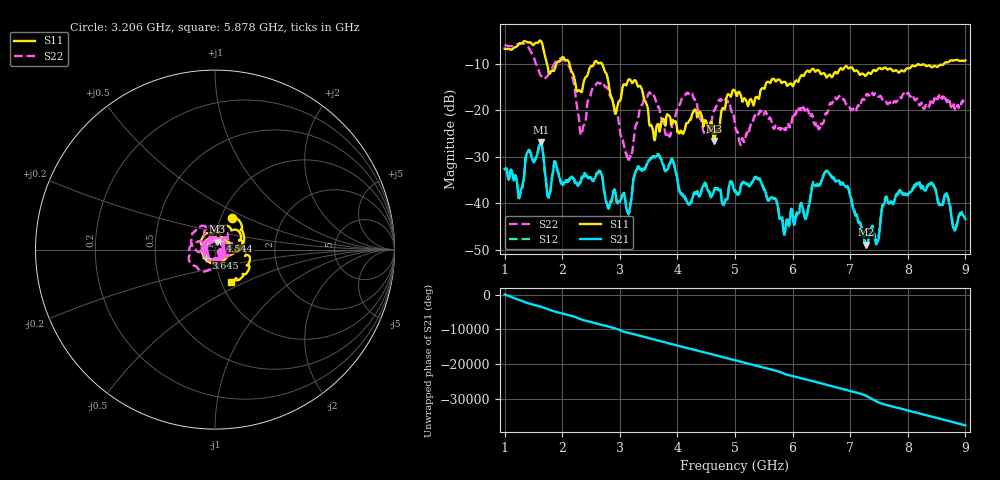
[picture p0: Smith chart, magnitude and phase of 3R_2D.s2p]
!Keysight Technologies N9915A: A.10.33
!Date: Tuesday, 12 May 2020 14:20:12
!Timezone: (UTC+08:00) Perth
!Model: N9915A
!Serial: MY53102697
!GPS Latitude:
!GPS Longitude:
!GPS TimeStamp: 0001-01-01 00:00:00Z
!GPS Seconds Since Last Read: 0
!CHECKSUM:1102029094
!Correction: S11(ON U)S21(ON U)S12(ON U)S22(ON U)
!S2P File: Measurements:S11,S21,S12,S22:
# Hz S DB R 50
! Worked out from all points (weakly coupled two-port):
!   10001 points, 1 GHz to 9 GHz, reference 50 ohm
!   highest |S21| = -26.77 dB at 1.63 GHz (marker M1); lowest = -49.0 dB at 7.277 GHz (marker M2)
!   lowest |S11| = -26.6 dB at 4.637 GHz (marker M3), VSWR 1.10, Z = 51.2 + j4.6 ohm
!   |S11| at or under -10 dB: 2.128 GHz to 2.549 GHz (421 MHz wide, 18 % of centre); 2.694 GHz to 8.171 GHz (5.477 GHz wide, 101 % of centre); 8.185 GHz to 8.624 GHz (438.2 MHz wide, 5.21 % of centre) (the widest 3 of 4)
!   |S22| runs from -30.7 to -5.5 dB; largest |S21 - S12| = 0.01
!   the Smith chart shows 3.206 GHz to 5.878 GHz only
!   S11 on the Smith chart (normalised r, x): 3.206 GHz: 1.13, +0.42; 3.645 GHz: 0.90, -0.08; 4.544 GHz: 1.05, +0.11; 5.878 GHz: 1.12, -0.42
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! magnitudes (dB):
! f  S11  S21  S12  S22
! 1 GHz  -6.7  -32.6  -32.8  -5.8
! 1.27 GHz  -5.5  -37.9  -38.1  -5.5
! 1.63 GHz  -5.0  -26.8  -26.6  -12.5
! 1.759 GHz  -11.5  -38.8  -38.8  -12.2
! 2.077 GHz  -9.1  -35.2  -35.1  -9.6
! 2.334 GHz  -16.1  -34.8  -34.6  -25.3
! 2.689 GHz  -9.9  -33.9  -33.9  -13.9
! 2.922 GHz  -20.7  -37.6  -37.6  -20.1
! 3.206 GHz  -13.9  -38.5  -38.3  -29.2
! 3.645 GHz  -23.1  -29.8  -29.6  -18.7
! 3.667 GHz  -22.9  -29.6  -29.4  -19.1
! 3.846 GHz  -21.0  -32.2  -32.0  -25.4
! 4.223 GHz  -22.0  -40.1  -39.9  -16.2
! 4.544 GHz  -24.7  -37.5  -37.3  -24.7
! 4.637 GHz  -26.6  -37.2  -37.1  -20.0
! 5 GHz  -15.8  -37.5  -37.2  -23.4
! 5.878 GHz  -14.0  -45.3  -44.9  -24.2
! 6.334 GHz  -11.1  -36.9  -36.6  -21.0
! 6.93 GHz  -10.4  -36.5  -36.2  -18.7
! 7.277 GHz  -12.4  -49.0  -49.3  -16.6
! 7.667 GHz  -11.1  -40.1  -39.8  -18.5
! 9 GHz  -9.2  -43.4  -42.3  -17.6
